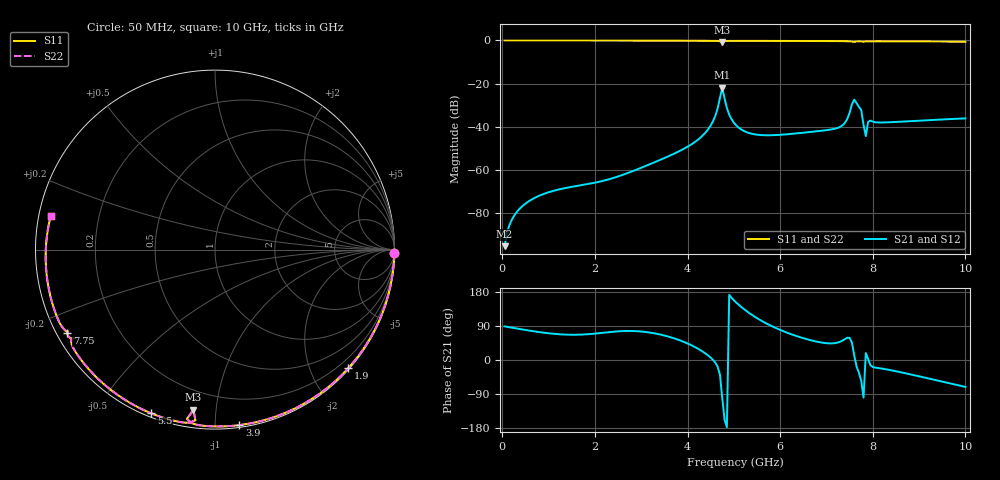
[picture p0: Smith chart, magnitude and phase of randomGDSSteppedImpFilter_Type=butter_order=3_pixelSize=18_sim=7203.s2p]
! freq	dB(S11)	phase(S11)	dB(S12)	phase(S12)
!  dB(S21)	phase(S21)	dB(S22)	phase(S22)
!S-par simulation data
#  GHz  S  DB  R 50
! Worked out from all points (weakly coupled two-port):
!   200 points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, 50 MHz to 10 GHz, reference 50 ohm
!   highest |S21| = -21.97 dB at 4.75 GHz (marker M1); lowest = -95.4 dB at 50 MHz (marker M2)
!   lowest |S11| = -0.9 dB at 4.75 GHz (marker M3), VSWR 19.07, Z = 4.62 - j43.5 ohm
!   |S11| at or under -10 dB: nowhere
!   |S22| runs from -0.9 to 0.0 dB; largest |S21 - S12| = 0
!   S11 on the Smith chart (normalised r, x): 50 MHz: open; 1.9 GHz: 0.02, -2.64; 3.9 GHz: 0.01, -1.15; 5.5 GHz: 0.02, -0.68; 7.75 GHz: 0.03, -0.26; 10 GHz: 0.03, +0.10
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0.05  -0.00 -1.1  -95.39 88.7  -95.39 88.7  -0.00 -1.1
0.3  -0.01 -6.7  -79.92 83.4  -79.92 83.4  -0.01 -6.7
0.9  -0.02 -20.0  -71.11 72.0  -71.11 72.0  -0.02 -20.0
1.75  -0.05 -38.4  -66.96 67.3  -66.96 67.3  -0.05 -38.4
1.9  -0.05 -41.6  -66.38 68.5  -66.38 68.5  -0.05 -41.6
3.4  -0.10 -72.3  -55.47 67.5  -55.47 67.5  -0.10 -72.3
3.9  -0.11 -82.1  -50.46 48.8  -50.46 48.8  -0.11 -82.1
4.5  -0.14 -93.9  -39.42 6.3  -39.42 6.3  -0.14 -93.9
4.65  -0.21 -97.6  -31.57 -17.9  -31.57 -17.9  -0.21 -97.6
4.75  -0.91 -97.7  -21.97 -101.0  -21.97 -101.0  -0.91 -97.7
4.9  -0.19 -99.6  -34.36 172.1  -34.36 172.1  -0.19 -99.6
5.05  -0.17 -102.8  -39.35 151.7  -39.35 151.7  -0.17 -102.8
5.5  -0.18 -111.3  -43.69 110.5  -43.69 110.5  -0.18 -111.3
6.7  -0.26 -132.6  -42.34 50.9  -42.34 50.9  -0.26 -132.6
7.35  -0.33 -144.3  -39.30 51.5  -39.30 51.5  -0.33 -144.3
7.45  -0.37 -146.3  -36.35 58.7  -36.35 58.7  -0.37 -146.3
7.6  -0.63 -147.9  -27.44 11.8  -27.44 11.8  -0.64 -147.9
7.75  -0.49 -150.6  -32.15 -54.3  -32.15 -54.3  -0.49 -150.6
7.85  -0.47 -151.4  -44.37 18.2  -44.37 18.2  -0.46 -151.3
7.9  -0.44 -152.3  -37.73 2.4  -37.73 2.4  -0.43 -152.3
8.35  -0.40 -160.8  -37.94 -26.0  -37.94 -26.0  -0.40 -160.8
10  -0.59 168.3  -36.15 -71.0  -36.15 -71.0  -0.59 168.3
